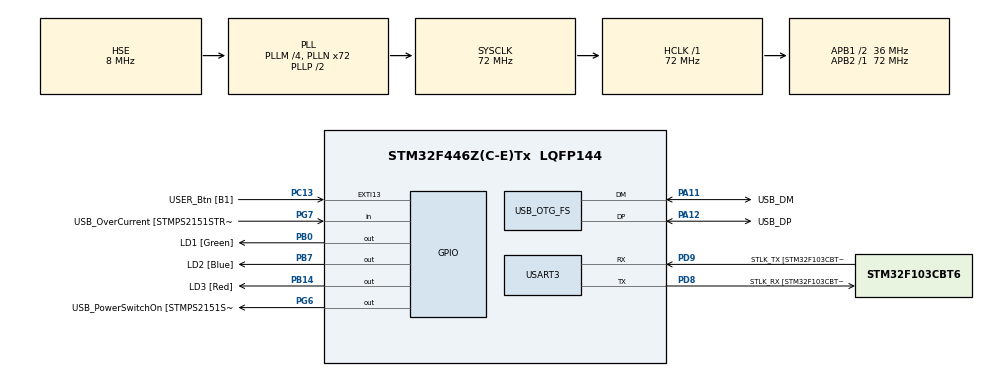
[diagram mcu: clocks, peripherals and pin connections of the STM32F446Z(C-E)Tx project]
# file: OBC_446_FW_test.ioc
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FREERTOS.Queues01=taskQueue,16,uint8_t,0,Dynamic,NULL,NULL
FREERTOS.Tasks01=defaultTask,0,512,StartDefaultTask,Default,NULL,Dynamic,NULL,NULL;usbTask,-3,128,UsbTask,Default,NULL,Dynamic,NULL,NULL
FREERTOS.configUSE_NEWLIB_REENTRANT=1
Mcu.Family=STM32F4
Mcu.Name=STM32F446Z(C-E)Tx
Mcu.Package=LQFP144
NVIC.OTG_FS_IRQn=true\:5\:0\:false\:false\:true\:true\:false\:true
NVIC.PriorityGroup=NVIC_PRIORITYGROUP_4
NVIC.TIM2_IRQn=true\:15\:0\:false\:false\:true\:false\:false\:true
NVIC.TimeBase=TIM2_IRQn
NVIC.TimeBaseIP=TIM2
PA10.GPIO_Label=USB_ID
PA10.Signal=USB_OTG_FS_ID
PA11.GPIO_Label=USB_DM
PA11.Mode=Device_Only
PA11.Signal=USB_OTG_FS_DM
PA12.GPIO_Label=USB_DP
PA12.Mode=Device_Only
PA12.Signal=USB_OTG_FS_DP
PA13.GPIO_Label=TMS
PA13.Mode=Serial_Wire
PA13.Signal=SYS_JTMS-SWDIO
PA14.GPIO_Label=TCK
PA14.Mode=Serial_Wire
PA14.Signal=SYS_JTCK-SWCLK
PA8.GPIO_Label=USB_SOF [TP1]
PA8.Signal=USB_OTG_FS_SOF
PA9.GPIO_Label=USB_VBUS
PA9.Signal=USB_OTG_FS_VBUS
PB0.GPIO_Label=LD1 [Green]
PB0.Signal=GPIO_Output
PB14.GPIO_Label=LD3 [Red]
PB14.Signal=GPIO_Output
PB7.GPIO_Label=LD2 [Blue]
PB7.Signal=GPIO_Output
PC13.GPIO_Label=USER_Btn [B1]
PC13.Signal=GPXTI13
PC14-OSC32_IN.Mode=LSE-External-Oscillator
PC14-OSC32_IN.Signal=RCC_OSC32_IN
PC15-OSC32_OUT.Mode=LSE-External-Oscillator
PC15-OSC32_OUT.Signal=RCC_OSC32_OUT
PD8.GPIO_Label=STLK_RX [STM32F103CBT6_PA3]
PD8.Mode=Asynchronous
PD8.Signal=USART3_TX
PD9.GPIO_Label=STLK_TX [STM32F103CBT6_PA2]
PD9.Mode=Asynchronous
PD9.Signal=USART3_RX
PG6.GPIO_Label=USB_PowerSwitchOn [STMPS2151STR_EN]
PG6.Signal=GPIO_Output
PG7.GPIO_Label=USB_OverCurrent [STMPS2151STR_FAULT]
PG7.Signal=GPIO_Input
PH0-OSC_IN.GPIO_Label=MCO [STM32F103CBT6_PA8]
PH0-OSC_IN.Mode=HSE-External-Clock-Source
PH0-OSC_IN.Signal=RCC_OSC_IN
PH1-OSC_OUT.Mode=HSE-External-Clock-Source
PH1-OSC_OUT.Signal=RCC_OSC_OUT
ProjectManager.HeapSize=0x200
ProjectManager.StackSize=0x400
ProjectManager.TargetToolchain=STM32CubeIDE
RCC.48MHZClocksFreq_Value=24000000
RCC.AHBFreq_Value=72000000
RCC.APB1CLKDivider=RCC_HCLK_DIV2
RCC.APB1Freq_Value=36000000
RCC.APB1TimFreq_Value=72000000
RCC.APB2Freq_Value=72000000
RCC.APB2TimFreq_Value=72000000
RCC.CortexFreq_Value=72000000
RCC.HCLKFreq_Value=72000000
RCC.HSE_VALUE=8000000
RCC.HSI_VALUE=16000000
RCC.PLLM=4
RCC.PLLMUL=RCC_PLL_MUL9
RCC.PLLN=72
RCC.PLLQ=3
RCC.PRESCALERUSB=RCC_USBCLKSOURCE_PLL_DIV1_5
RCC.SYSCLKFreq_VALUE=72000000
RCC.SYSCLKSource=RCC_SYSCLKSOURCE_PLLCLK
RCC.SYSCLKSourceVirtual=RCC_SYSCLKSOURCE_PLLCLK
RCC.USBFreq_Value=48000000
RCC.VCOOutputFreq_Value=144000000
USART3.VirtualMode=VM_ASYNC
USB_DEVICE.CLASS_NAME_FS=CDC
USB_DEVICE.VirtualMode-CDC_FS=Cdc
USB_DEVICE.VirtualModeFS=Cdc_FS
USB_OTG_FS.VirtualMode=Device_Only
VP_FREERTOS_VS_CMSIS_V1.Mode=CMSIS_V1
VP_SYS_VS_tim2.Mode=TIM2
VP_USB_DEVICE_VS_USB_DEVICE_CDC_FS.Mode=CDC_FS
board=NUCLEO-F446ZE

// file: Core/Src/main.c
/* USER CODE BEGIN Header */
/**
  ******************************************************************************
  * @file           : main.c
  * @brief          : Main program body
  ******************************************************************************
  * @attention
  *
  * <h2><center>&copy; Copyright (c) 2021 STMicroelectronics.
  * All rights reserved.</center></h2>
  *
  * This software component is licensed by ST under BSD 3-Clause license,
  * the "License"; You may not use this file except in compliance with the
  * License. You may obtain a copy of the License at:
  *                        opensource.org/licenses/BSD-3-Clause
  *
  ******************************************************************************
  */
/* USER CODE END Header */
#include "main.h"
#include "cmsis_os.h"
#include "usart.h"
#include "usb_device.h"
#include "gpio.h"

void SystemClock_Config(void);
void MX_FREERTOS_Init(void);

int main(void)
{

  /* MCU Configuration--------------------------------------------------------*/

  /* Reset of all peripherals, Initializes the Flash interface and the Systick. */
  HAL_Init();

  /* Configure the system clock */
  SystemClock_Config();

  /* Initialize all configured peripherals */
  MX_GPIO_Init();
  MX_USART3_UART_Init();

  /* Call init function for freertos objects (in freertos.c) */
  MX_FREERTOS_Init();
  /* Start scheduler */
  osKernelStart();

  /* We should never get here as control is now taken by the scheduler */
  /* Infinite loop */
  while (1)
  {

  }
}

void SystemClock_Config(void)
{
  RCC_OscInitTypeDef RCC_OscInitStruct = {0};
  RCC_ClkInitTypeDef RCC_ClkInitStruct = {0};

  /** Configure the main internal regulator output voltage
  */
  __HAL_RCC_PWR_CLK_ENABLE();
  __HAL_PWR_VOLTAGESCALING_CONFIG(PWR_REGULATOR_VOLTAGE_SCALE3);
  /** Initializes the RCC Oscillators according to the specified parameters
  * in the RCC_OscInitTypeDef structure.
  */
  RCC_OscInitStruct.OscillatorType = RCC_OSCILLATORTYPE_HSE;
  RCC_OscInitStruct.HSEState = RCC_HSE_BYPASS;
  RCC_OscInitStruct.PLL.PLLState = RCC_PLL_ON;
  RCC_OscInitStruct.PLL.PLLSource = RCC_PLLSOURCE_HSE;
  RCC_OscInitStruct.PLL.PLLM = 4;
  RCC_OscInitStruct.PLL.PLLN = 72;
  RCC_OscInitStruct.PLL.PLLP = RCC_PLLP_DIV2;
  RCC_OscInitStruct.PLL.PLLQ = 3;
  RCC_OscInitStruct.PLL.PLLR = 2;
  if (HAL_RCC_OscConfig(&RCC_OscInitStruct) != HAL_OK)
  {
    Error_Handler();
  }
  /** Initializes the CPU, AHB and APB buses clocks
  */
  RCC_ClkInitStruct.ClockType = RCC_CLOCKTYPE_HCLK|RCC_CLOCKTYPE_SYSCLK
                              |RCC_CLOCKTYPE_PCLK1|RCC_CLOCKTYPE_PCLK2;
  RCC_ClkInitStruct.SYSCLKSource = RCC_SYSCLKSOURCE_PLLCLK;
  RCC_ClkInitStruct.AHBCLKDivider = RCC_SYSCLK_DIV1;
  RCC_ClkInitStruct.APB1CLKDivider = RCC_HCLK_DIV2;
  RCC_ClkInitStruct.APB2CLKDivider = RCC_HCLK_DIV1;

  if (HAL_RCC_ClockConfig(&RCC_ClkInitStruct, FLASH_LATENCY_2) != HAL_OK)
  {
    Error_Handler();
  }
}

void HAL_TIM_PeriodElapsedCallback(TIM_HandleTypeDef *htim)
{
  if (htim->Instance == TIM2) {
    HAL_IncTick();
  }
}

void Error_Handler(void)
{
  __disable_irq();
  while (1)
  {
  }
}

/************************ (C) COPYRIGHT STMicroelectronics *****END OF FILE****/

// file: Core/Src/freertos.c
/* USER CODE BEGIN Header */
/**
  ******************************************************************************
  * File Name          : freertos.c
  * Description        : Code for freertos applications
  ******************************************************************************
  * @attention
  *
  * <h2><center>&copy; Copyright (c) 2021 STMicroelectronics.
  * All rights reserved.</center></h2>
  *
  * This software component is licensed by ST under Ultimate Liberty license
  * SLA0044, the "License"; You may not use this file except in compliance with
  * the License. You may obtain a copy of the License at:
  *                             www.st.com/SLA0044
  *
  ******************************************************************************
  */
/* USER CODE END Header */

#include "FreeRTOS.h"
#include "task.h"
#include "main.h"
#include "cmsis_os.h"

/* USER CODE BEGIN Includes */
#include "task_list.h"
#include "usbd_cdc_if.h"
/* USER CODE END Includes */

osThreadId defaultTaskHandle;
osThreadId usbTaskHandle;
osMessageQId taskQueueHandle;

/* USER CODE BEGIN FunctionPrototypes */
void blinkLD1();
void blinkLD2();
void blinkLD3();
/* USER CODE END FunctionPrototypes */

void StartDefaultTask(void const * argument);
void UsbTask(void const * argument);

extern void MX_USB_DEVICE_Init(void);
void MX_FREERTOS_Init(void); /* (MISRA C 2004 rule 8.1) */

/* GetIdleTaskMemory prototype (linked to static allocation support) */
void vApplicationGetIdleTaskMemory( StaticTask_t **ppxIdleTaskTCBBuffer, StackType_t **ppxIdleTaskStackBuffer, uint32_t *pulIdleTaskStackSize );

/* USER CODE BEGIN GET_IDLE_TASK_MEMORY */
static StaticTask_t xIdleTaskTCBBuffer;
static StackType_t xIdleStack[configMINIMAL_STACK_SIZE];

void vApplicationGetIdleTaskMemory( StaticTask_t **ppxIdleTaskTCBBuffer, StackType_t **ppxIdleTaskStackBuffer, uint32_t *pulIdleTaskStackSize )
{
  *ppxIdleTaskTCBBuffer = &xIdleTaskTCBBuffer;
  *ppxIdleTaskStackBuffer = &xIdleStack[0];
  *pulIdleTaskStackSize = configMINIMAL_STACK_SIZE;
  /* place for user code */
}
/* USER CODE END GET_IDLE_TASK_MEMORY */

void MX_FREERTOS_Init(void) {

  /* Create the queue(s) */
  /* definition and creation of taskQueue */
  osMessageQDef(taskQueue, 16, uint8_t);
  taskQueueHandle = osMessageCreate(osMessageQ(taskQueue), NULL);

  /* Create the thread(s) */
  /* definition and creation of defaultTask */
  osThreadDef(defaultTask, StartDefaultTask, osPriorityNormal, 0, 512);
  defaultTaskHandle = osThreadCreate(osThread(defaultTask), NULL);

  /* definition and creation of usbTask */
  osThreadDef(usbTask, UsbTask, osPriorityIdle, 0, 128);
  usbTaskHandle = osThreadCreate(osThread(usbTask), NULL);

}

void StartDefaultTask(void const * argument)
{
  /* init code for USB_DEVICE */
  MX_USB_DEVICE_Init();
  /* USER CODE BEGIN StartDefaultTask */
  /* Infinite loop */
  for(;;)
  {
	  osDelay(1000);
  }
  /* USER CODE END StartDefaultTask */
}

void UsbTask(void const * argument)
{
  /* USER CODE BEGIN UsbTask */
  /* Infinite loop */
  for(;;)
  {
	blinkLD1();

    osEvent event = osMessageGet(taskQueueHandle, 100);
    uint8_t dataRX = event.value.v;
    if(dataRX==BLINK_LD2) blinkLD2();
    if(dataRX==BLINK_LD3) blinkLD3();
    CDC_Transmit_FS(&dataRX, 1);
    osDelay(1000);

  }
  /* USER CODE END UsbTask */
}

/* USER CODE BEGIN Application */
void blinkLD1()
{
	HAL_GPIO_TogglePin(LD1_GPIO_Port, LD1_Pin);
	osDelay(500);
	HAL_GPIO_TogglePin(LD1_GPIO_Port, LD1_Pin);
}
void blinkLD2()
{
	HAL_GPIO_TogglePin(LD2_GPIO_Port, LD2_Pin);
	osDelay(500);
	HAL_GPIO_TogglePin(LD2_GPIO_Port, LD2_Pin);
}
void blinkLD3()
{
	HAL_GPIO_TogglePin(LD3_GPIO_Port, LD3_Pin);
	osDelay(500);
	HAL_GPIO_TogglePin(LD3_GPIO_Port, LD3_Pin);
}
int putMsgIntoQueue(uint8_t data)
{
	if(osMessagePut(taskQueueHandle, data, 100)== osErrorOS)
	{
		return 1;
	}
	else
	{
		return 0;
	}
}
/* USER CODE END Application */

/************************ (C) COPYRIGHT STMicroelectronics *****END OF FILE****/
